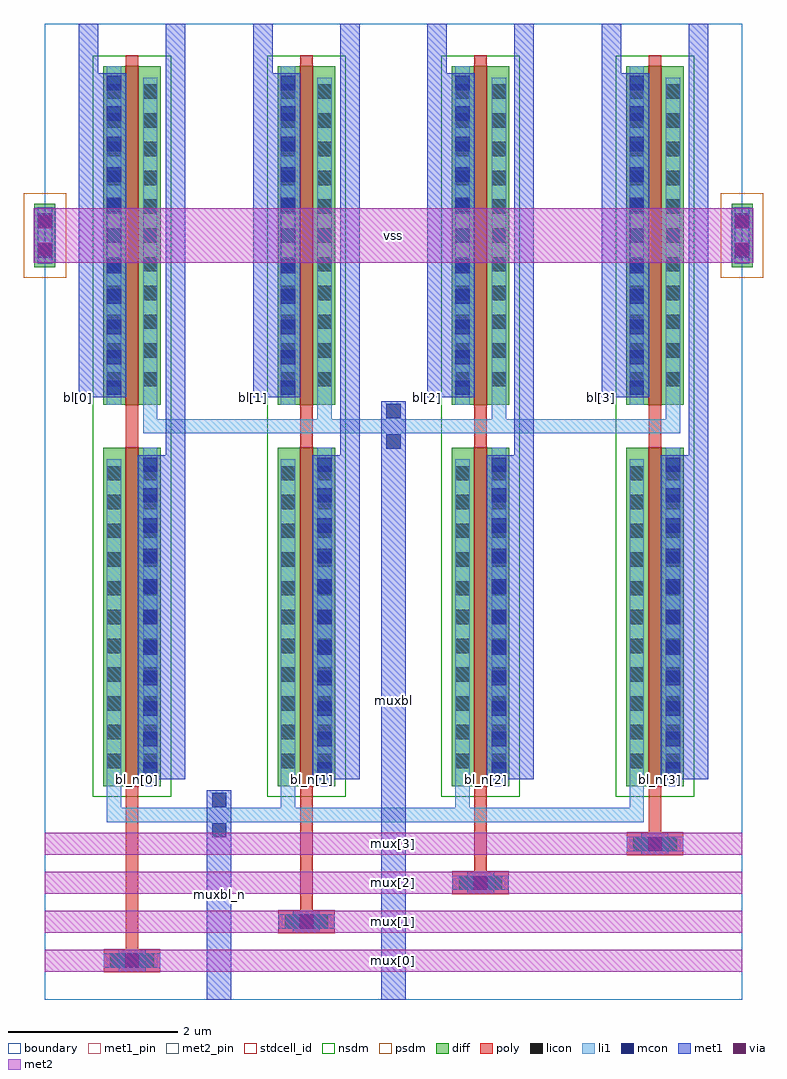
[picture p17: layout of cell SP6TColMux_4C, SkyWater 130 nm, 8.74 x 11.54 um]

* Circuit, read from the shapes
.subckt SP6TColMux_4C bl[0] bl[1] bl[2] bl[3] bl_n[0] bl_n[1] bl_n[2] bl_n[3] mux[0] mux[1] mux[2] mux[3] muxbl muxbl_n vss
XM1 bl_n[0] mux[0] muxbl_n VSUBS sky130_fd_pr__nfet_01v8 w=4 l=0.15
XM2 muxbl mux[0] bl[0] VSUBS sky130_fd_pr__nfet_01v8 w=4 l=0.15
XM3 bl_n[1] mux[1] muxbl_n VSUBS sky130_fd_pr__nfet_01v8 w=4 l=0.15
XM4 muxbl mux[1] bl[1] VSUBS sky130_fd_pr__nfet_01v8 w=4 l=0.15
XM5 bl_n[2] mux[2] muxbl_n VSUBS sky130_fd_pr__nfet_01v8 w=4 l=0.15
XM6 muxbl mux[2] bl[2] VSUBS sky130_fd_pr__nfet_01v8 w=4 l=0.15
XM7 bl_n[3] mux[3] muxbl_n VSUBS sky130_fd_pr__nfet_01v8 w=4 l=0.15
XM8 muxbl mux[3] bl[3] VSUBS sky130_fd_pr__nfet_01v8 w=4 l=0.15
.ends

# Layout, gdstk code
import gdstk
lib = gdstk.Library(unit=1e-6, precision=1e-09)
def R(c, l, rs):  # rectangles x0, y0, x1, y1
    for r in rs: c.add(gdstk.rectangle(r[:2], r[2:], *l))
def A(c, l, x, y, w, h, nx, ny, dx, dy):  # array of equal rectangles
    R(c, l, [(x+i*dx, y+j*dy, x+i*dx+w, y+j*dy+h) for i in range(nx) for j in range(ny)])
def P(c, l, *ps):  # polygons
    for p in ps: c.add(gdstk.Polygon(p, *l))
diff = (65, 20)
poly = (66, 20)
licon = (66, 44)
li1 = (67, 20)
mcon = (67, 44)
met1_pin = (68, 16)
met1 = (68, 20)
via = (68, 44)
met2_pin = (69, 16)
met2 = (69, 20)
stdcell_id = (81, 4)
nsdm = (93, 44)
psdm = (94, 20)
boundary = (235, 4)

sp6tcolmux_4c = lib.new_cell('SP6TColMux_4C')
A(sp6tcolmux_4c, diff, 0.69, 2.52, 0.68, 4, 4, 2, 2.06, 4.51)
R(sp6tcolmux_4c, diff, [(-0.125,8.655,0.125,9.405), (8.115,8.655,8.365,9.405)])
P(sp6tcolmux_4c, poly, [(0.695,0.325),(0.695,0.595),(0.955,0.595),(0.955,11.16),(1.105,11.16),(1.105,0.595),(1.365,0.595),(1.365,0.325)],
  [(2.755,0.785),(2.755,1.055),(3.015,1.055),(3.015,11.16),(3.165,11.16),(3.165,1.055),(3.425,1.055),(3.425,0.785)],
  [(4.815,1.245),(4.815,1.515),(5.075,1.515),(5.075,11.16),(5.225,11.16),(5.225,1.515),(5.485,1.515),(5.485,1.245)],
  [(6.875,1.705),(6.875,1.975),(7.135,1.975),(7.135,11.16),(7.285,11.16),(7.285,1.975),(7.545,1.975),(7.545,1.705)])
A(sp6tcolmux_4c, licon, 0.73, 2.735, 0.17, 0.17, 1, 11, 0, 0.34)
A(sp6tcolmux_4c, licon, 1.16, 2.735, 0.17, 0.17, 1, 11, 0, 0.34)
A(sp6tcolmux_4c, licon, 2.79, 2.735, 0.17, 0.17, 1, 11, 0, 0.34)
A(sp6tcolmux_4c, licon, 3.22, 2.735, 0.17, 0.17, 1, 11, 0, 0.34)
A(sp6tcolmux_4c, licon, 4.85, 2.735, 0.17, 0.17, 1, 11, 0, 0.34)
A(sp6tcolmux_4c, licon, 5.28, 2.735, 0.17, 0.17, 1, 11, 0, 0.34)
A(sp6tcolmux_4c, licon, 6.91, 2.735, 0.17, 0.17, 1, 11, 0, 0.34)
A(sp6tcolmux_4c, licon, 7.34, 2.735, 0.17, 0.17, 1, 11, 0, 0.34)
A(sp6tcolmux_4c, licon, 0.73, 7.245, 0.17, 0.17, 1, 11, 0, 0.34)
A(sp6tcolmux_4c, licon, 1.16, 7.245, 0.17, 0.17, 1, 11, 0, 0.34)
A(sp6tcolmux_4c, licon, 2.79, 7.245, 0.17, 0.17, 1, 11, 0, 0.34)
A(sp6tcolmux_4c, licon, 3.22, 7.245, 0.17, 0.17, 1, 11, 0, 0.34)
A(sp6tcolmux_4c, licon, 4.85, 7.245, 0.17, 0.17, 1, 11, 0, 0.34)
A(sp6tcolmux_4c, licon, 5.28, 7.245, 0.17, 0.17, 1, 11, 0, 0.34)
A(sp6tcolmux_4c, licon, 6.91, 7.245, 0.17, 0.17, 1, 11, 0, 0.34)
A(sp6tcolmux_4c, licon, 7.34, 7.245, 0.17, 0.17, 1, 11, 0, 0.34)
R(sp6tcolmux_4c, licon, [(0.775,0.375,0.945,0.545), (1.115,0.375,1.285,0.545), (2.835,0.835,3.005,1.005), (3.175,0.835,3.345,1.005), (4.895,1.295,5.065,1.465), (5.235,1.295,5.405,1.465), (6.955,1.755,7.125,1.925), (7.295,1.755,7.465,1.925), (-0.085,8.775,0.085,8.945), (8.155,8.775,8.325,8.945), (-0.085,9.115,0.085,9.285), (8.155,9.115,8.325,9.285)])
A(sp6tcolmux_4c, li1, 1.16, 2.52, 0.17, 4, 4, 1, 2.06, 0)
A(sp6tcolmux_4c, li1, 0.73, 7.03, 0.17, 4, 4, 1, 2.06, 0)
R(sp6tcolmux_4c, li1, [(0.695,0.375,1.365,0.545), (2.755,0.835,3.425,1.005), (4.815,1.295,5.485,1.465), (6.875,1.755,7.545,1.925), (-0.085,8.695,0.085,9.365), (8.155,8.695,8.325,9.365)])
P(sp6tcolmux_4c, li1, [(1.975,1.915),(1.975,2.095),(0.73,2.095),(0.73,6.385),(0.9,6.385),(0.9,2.265),(1.975,2.265),(1.975,2.445),(2.145,2.445),(2.145,2.265),(2.79,2.265),(2.79,6.385),(2.96,6.385),(2.96,2.265),(4.85,2.265),(4.85,6.385),(5.02,6.385),(5.02,2.265),(6.91,2.265),(6.91,6.385),(7.08,6.385),(7.08,2.095),(2.145,2.095),(2.145,1.915)],
  [(4.035,6.51),(4.035,6.69),(1.16,6.69),(1.16,10.895),(1.33,10.895),(1.33,6.86),(3.22,6.86),(3.22,10.895),(3.39,10.895),(3.39,6.86),(4.035,6.86),(4.035,7.04),(4.205,7.04),(4.205,6.86),(5.28,6.86),(5.28,10.895),(5.45,10.895),(5.45,6.86),(7.34,6.86),(7.34,10.895),(7.51,10.895),(7.51,6.69),(4.205,6.69),(4.205,6.51)])
A(sp6tcolmux_4c, mcon, 1.16, 2.635, 0.17, 0.17, 4, 11, 2.06, 0.36)
A(sp6tcolmux_4c, mcon, 0.73, 7.145, 0.17, 0.17, 4, 11, 2.06, 0.36)
R(sp6tcolmux_4c, mcon, [(0.945,0.375,1.115,0.545), (3.005,0.835,3.175,1.005), (5.065,1.295,5.235,1.465), (7.125,1.755,7.295,1.925), (1.975,1.915,2.145,2.085), (1.975,2.275,2.145,2.445), (4.035,6.51,4.205,6.68), (4.035,6.87,4.205,7.04), (-0.085,8.765,0.085,8.935), (8.155,8.765,8.325,8.935), (-0.085,9.125,0.085,9.295), (8.155,9.125,8.325,9.295)])
R(sp6tcolmux_4c, met1_pin, [(1.915,0,2.205,2.475), (3.975,0,4.265,7.07)])
P(sp6tcolmux_4c, met1_pin, [(1.1,2.605),(1.1,6.435),(1.43,6.435),(1.43,11.535),(1.66,11.535),(1.66,2.605)],
  [(0.4,7.115),(0.4,11.535),(0.63,11.535),(0.63,10.945),(0.96,10.945),(0.96,7.115)],
  [(3.16,2.605),(3.16,6.435),(3.49,6.435),(3.49,11.535),(3.72,11.535),(3.72,2.605)],
  [(2.46,7.115),(2.46,11.535),(2.69,11.535),(2.69,10.945),(3.02,10.945),(3.02,7.115)],
  [(5.22,2.605),(5.22,6.435),(5.55,6.435),(5.55,11.535),(5.78,11.535),(5.78,2.605)],
  [(4.52,7.115),(4.52,11.535),(4.75,11.535),(4.75,10.945),(5.08,10.945),(5.08,7.115)],
  [(7.28,2.605),(7.28,6.435),(7.61,6.435),(7.61,11.535),(7.84,11.535),(7.84,2.605)],
  [(6.58,7.115),(6.58,11.535),(6.81,11.535),(6.81,10.945),(7.14,10.945),(7.14,7.115)])
R(sp6tcolmux_4c, met1, [(1.915,0,2.205,2.475), (3.975,0,4.265,7.07), (0.87,0.33,1.19,0.59), (2.93,0.79,3.25,1.05), (4.99,1.25,5.31,1.51), (7.05,1.71,7.37,1.97)])
P(sp6tcolmux_4c, met1, [(-0.115,8.705),(-0.115,8.71),(-0.13,8.71),(-0.13,9.35),(-0.115,9.35),(-0.115,9.355),(0.115,9.355),(0.115,9.35),(0.13,9.35),(0.13,8.71),(0.115,8.71),(0.115,8.705)],
  [(8.125,8.705),(8.125,8.71),(8.11,8.71),(8.11,9.35),(8.125,9.35),(8.125,9.355),(8.355,9.355),(8.355,9.35),(8.37,9.35),(8.37,8.71),(8.355,8.71),(8.355,8.705)],
  [(1.1,2.605),(1.1,6.435),(1.43,6.435),(1.43,11.535),(1.66,11.535),(1.66,2.605)],
  [(0.4,7.115),(0.4,11.535),(0.63,11.535),(0.63,10.945),(0.96,10.945),(0.96,7.115)],
  [(3.16,2.605),(3.16,6.435),(3.49,6.435),(3.49,11.535),(3.72,11.535),(3.72,2.605)],
  [(2.46,7.115),(2.46,11.535),(2.69,11.535),(2.69,10.945),(3.02,10.945),(3.02,7.115)],
  [(5.22,2.605),(5.22,6.435),(5.55,6.435),(5.55,11.535),(5.78,11.535),(5.78,2.605)],
  [(4.52,7.115),(4.52,11.535),(4.75,11.535),(4.75,10.945),(5.08,10.945),(5.08,7.115)],
  [(7.28,2.605),(7.28,6.435),(7.61,6.435),(7.61,11.535),(7.84,11.535),(7.84,2.605)],
  [(6.58,7.115),(6.58,11.535),(6.81,11.535),(6.81,10.945),(7.14,10.945),(7.14,7.115)])
R(sp6tcolmux_4c, via, [(0.955,0.385,1.105,0.535), (3.015,0.845,3.165,0.995), (5.075,1.305,5.225,1.455), (7.135,1.765,7.285,1.915), (-0.075,8.795,0.075,8.945), (8.165,8.795,8.315,8.945), (-0.075,9.115,0.075,9.265), (8.165,9.115,8.315,9.265)])
A(sp6tcolmux_4c, met2_pin, 0, 0.33, 8.24, 0.26, 1, 4, 0, 0.46)
R(sp6tcolmux_4c, met2_pin, [(-0.13,8.71,8.37,9.35)])
A(sp6tcolmux_4c, met2, 0, 0.33, 8.24, 0.26, 1, 4, 0, 0.46)
R(sp6tcolmux_4c, met2, [(-0.13,8.71,8.37,9.35)])
A(sp6tcolmux_4c, stdcell_id, 0.95, 2.515, 0.16, 4.01, 4, 2, 2.06, 4.51)
A(sp6tcolmux_4c, nsdm, 0.565, 2.395, 0.93, 8.76, 4, 1, 2.06, 0)
R(sp6tcolmux_4c, psdm, [(-0.25,8.53,0.25,9.53), (7.99,8.53,8.49,9.53)])
R(sp6tcolmux_4c, boundary, [(0,0,8.24,11.535)])
sp6tcolmux_4c.add(gdstk.Label('mux[0]', (4.12,0.46), layer=69, texttype=16))
sp6tcolmux_4c.add(gdstk.Label('vss', (4.12,9.03), layer=69, texttype=16))
sp6tcolmux_4c.add(gdstk.Label('mux[1]', (4.12,0.92), layer=69, texttype=16))
sp6tcolmux_4c.add(gdstk.Label('mux[2]', (4.12,1.38), layer=69, texttype=16))
sp6tcolmux_4c.add(gdstk.Label('mux[3]', (4.12,1.84), layer=69, texttype=16))
sp6tcolmux_4c.add(gdstk.Label('muxbl_n', (2.06,1.238), layer=68, texttype=16))
sp6tcolmux_4c.add(gdstk.Label('bl_n[0]', (1.1,2.605), layer=68, texttype=16))
sp6tcolmux_4c.add(gdstk.Label('bl[0]', (0.4,7.115), layer=68, texttype=16))
sp6tcolmux_4c.add(gdstk.Label('muxbl', (4.12,3.535), layer=68, texttype=16))
sp6tcolmux_4c.add(gdstk.Label('bl_n[1]', (3.16,2.605), layer=68, texttype=16))
sp6tcolmux_4c.add(gdstk.Label('bl[1]', (2.46,7.115), layer=68, texttype=16))
sp6tcolmux_4c.add(gdstk.Label('bl_n[2]', (5.22,2.605), layer=68, texttype=16))
sp6tcolmux_4c.add(gdstk.Label('bl[2]', (4.52,7.115), layer=68, texttype=16))
sp6tcolmux_4c.add(gdstk.Label('bl_n[3]', (7.28,2.605), layer=68, texttype=16))
sp6tcolmux_4c.add(gdstk.Label('bl[3]', (6.58,7.115), layer=68, texttype=16))

lib.write_gds('SP6TColMux_4C.gds')
